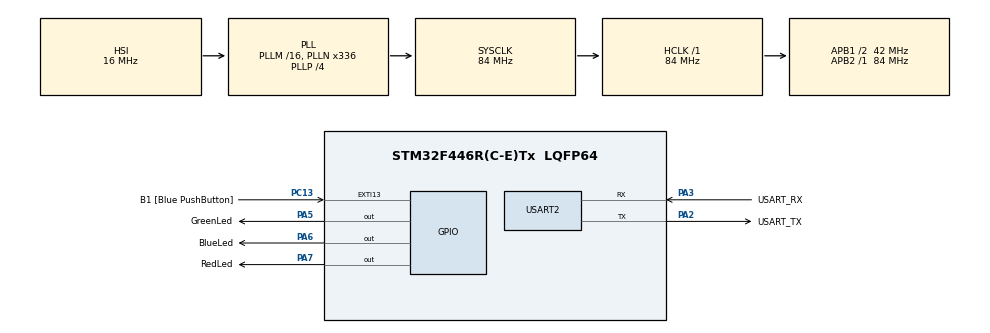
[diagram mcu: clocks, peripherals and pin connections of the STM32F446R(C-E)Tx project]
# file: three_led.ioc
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FREERTOS.Tasks01=defaultTask,0,128,StartDefaultTask,Default,NULL,Dynamic,NULL,NULL
Mcu.Family=STM32F4
Mcu.Name=STM32F446R(C-E)Tx
Mcu.Package=LQFP64
NVIC.PriorityGroup=NVIC_PRIORITYGROUP_4
NVIC.TIM6_DAC_IRQn=true\:15\:0\:false\:false\:true\:false\:false\:true\:true
NVIC.TimeBase=TIM6_DAC_IRQn
NVIC.TimeBaseIP=TIM6
PA13.GPIO_Label=TMS
PA13.Mode=Serial_Wire
PA13.Signal=SYS_JTMS-SWDIO
PA14.GPIO_Label=TCK
PA14.Mode=Serial_Wire
PA14.Signal=SYS_JTCK-SWCLK
PA2.GPIO_Label=USART_TX
PA2.Mode=Asynchronous
PA2.Signal=USART2_TX
PA3.GPIO_Label=USART_RX
PA3.Mode=Asynchronous
PA3.Signal=USART2_RX
PA5.GPIO_Label=GreenLed
PA5.Signal=GPIO_Output
PA6.GPIO_Label=BlueLed
PA6.Signal=GPIO_Output
PA7.GPIO_Label=RedLed
PA7.Signal=GPIO_Output
PB3.GPIO_Label=SWO
PB3.Signal=SYS_JTDO-SWO
PC13.GPIO_Label=B1 [Blue PushButton]
PC13.GPIO_ModeDefaultEXTI=GPIO_MODE_IT_FALLING
PC13.Signal=GPXTI13
PC14-OSC32_IN.Mode=LSE-External-Oscillator
PC14-OSC32_IN.Signal=RCC_OSC32_IN
PC15-OSC32_OUT.Mode=LSE-External-Oscillator
PC15-OSC32_OUT.Signal=RCC_OSC32_OUT
PH0-OSC_IN.Mode=HSE-External-Oscillator
PH0-OSC_IN.Signal=RCC_OSC_IN
PH1-OSC_OUT.Mode=HSE-External-Oscillator
PH1-OSC_OUT.Signal=RCC_OSC_OUT
ProjectManager.HeapSize=0x200
ProjectManager.StackSize=0x400
ProjectManager.TargetToolchain=STM32CubeIDE
RCC.48MHZClocksFreq_Value=84000000
RCC.AHBFreq_Value=84000000
RCC.APB1CLKDivider=RCC_HCLK_DIV2
RCC.APB1Freq_Value=42000000
RCC.APB1TimFreq_Value=84000000
RCC.APB2Freq_Value=84000000
RCC.APB2TimFreq_Value=84000000
RCC.CortexFreq_Value=84000000
RCC.FLatency-AdvancedSettings=FLASH_LATENCY_2
RCC.HCLKFreq_Value=84000000
RCC.HSE_VALUE=8000000
RCC.HSI_VALUE=16000000
RCC.PLLN=336
RCC.PLLP=RCC_PLLP_DIV4
RCC.SYSCLKFreq_VALUE=84000000
RCC.SYSCLKSource=RCC_SYSCLKSOURCE_PLLCLK
RCC.USBFreq_Value=168000000
RCC.VCOOutputFreq_Value=336000000
USART2.VirtualMode=VM_ASYNC
VP_FREERTOS_VS_CMSIS_V1.Mode=CMSIS_V1
VP_SYS_VS_tim6.Mode=TIM6
board=NUCLEO-F446RE

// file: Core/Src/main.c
/* USER CODE BEGIN Header */
/**
  ******************************************************************************
  * @file           : main.c
  * @brief          : Main program body
  ******************************************************************************
  * @attention
  *
  * Copyright (c) 2026 STMicroelectronics.
  * All rights reserved.
  *
  * This software is licensed under terms that can be found in the LICENSE file
  * in the root directory of this software component.
  * If no LICENSE file comes with this software, it is provided AS-IS.
  *
  ******************************************************************************
  */
/* USER CODE END Header */
#include "main.h"
#include "cmsis_os.h"

/* USER CODE BEGIN Includes */
#include <stdio.h>
/* USER CODE END Includes */

UART_HandleTypeDef huart2;

osThreadId defaultTaskHandle;

void SystemClock_Config(void);
static void MX_GPIO_Init(void);
static void MX_USART2_UART_Init(void);
void StartDefaultTask(void const * argument);

/* USER CODE BEGIN PFP */
static void led_green_handler(void *pvParameters);
static void led_red_handler(void *pvParameters);
static void led_blue_handler(void *pvParameters);

/* USER CODE END PFP */

int main(void)
{

  /* USER CODE BEGIN 1 */
	TaskHandle_t task1_handle;
	TaskHandle_t task2_handle;
	TaskHandle_t task3_handle;
	BaseType_t xReturned;
  /* USER CODE END 1 */

  /* MCU Configuration--------------------------------------------------------*/

  /* Reset of all peripherals, Initializes the Flash interface and the Systick. */
  HAL_Init();

  /* Configure the system clock */
  SystemClock_Config();

  /* Initialize all configured peripherals */
  MX_GPIO_Init();
  MX_USART2_UART_Init();
  /* USER CODE BEGIN 2 */
  xReturned = xTaskCreate(
      Firstled_handler,
      "First  led task",
      100,        /* Stack size */
      NULL,       /* Parameter passed */
      2,          /* Priority at which the task runs */
      &task1_handle);

  configASSERT(xReturned == pdPASS);

  xReturned = xTaskCreate(
      Secondled_handler,
      "Secondled task",
      100,        /* Stack size */
      NULL,       /* Parameter passed */
      2,          /* Priority at which the task runs */
      &task2_handle);

  configASSERT(xReturned == pdPASS);

  xReturned = xTaskCreate(
		  Tryledhandler,
      "Try led task",
      100,        /* Stack size */
      NULL,       /* Parameter passed */
      2,          /* Priority at which the task runs */
      &task3_handle);

  configASSERT(xReturned == pdPASS);

  vTaskStartScheduler();
  /* USER CODE END 2 */

  /* Create the thread(s) */
  /* definition and creation of defaultTask */
  osThreadDef(defaultTask, StartDefaultTask, osPriorityNormal, 0, 128);
  defaultTaskHandle = osThreadCreate(osThread(defaultTask), NULL);

  /* Start scheduler */
  osKernelStart();

  /* We should never get here as control is now taken by the scheduler */

  /* Infinite loop */
  while (1)
  {

  }
}

void SystemClock_Config(void)
{
  RCC_OscInitTypeDef RCC_OscInitStruct = {0};
  RCC_ClkInitTypeDef RCC_ClkInitStruct = {0};

  /** Configure the main internal regulator output voltage
  */
  __HAL_RCC_PWR_CLK_ENABLE();
  __HAL_PWR_VOLTAGESCALING_CONFIG(PWR_REGULATOR_VOLTAGE_SCALE3);

  /** Initializes the RCC Oscillators according to the specified parameters
  * in the RCC_OscInitTypeDef structure.
  */
  RCC_OscInitStruct.OscillatorType = RCC_OSCILLATORTYPE_HSI;
  RCC_OscInitStruct.HSIState = RCC_HSI_ON;
  RCC_OscInitStruct.HSICalibrationValue = RCC_HSICALIBRATION_DEFAULT;
  RCC_OscInitStruct.PLL.PLLState = RCC_PLL_ON;
  RCC_OscInitStruct.PLL.PLLSource = RCC_PLLSOURCE_HSI;
  RCC_OscInitStruct.PLL.PLLM = 16;
  RCC_OscInitStruct.PLL.PLLN = 336;
  RCC_OscInitStruct.PLL.PLLP = RCC_PLLP_DIV4;
  RCC_OscInitStruct.PLL.PLLQ = 2;
  RCC_OscInitStruct.PLL.PLLR = 2;
  if (HAL_RCC_OscConfig(&RCC_OscInitStruct) != HAL_OK)
  {
    Error_Handler();
  }

  /** Initializes the CPU, AHB and APB buses clocks
  */
  RCC_ClkInitStruct.ClockType = RCC_CLOCKTYPE_HCLK|RCC_CLOCKTYPE_SYSCLK
                              |RCC_CLOCKTYPE_PCLK1|RCC_CLOCKTYPE_PCLK2;
  RCC_ClkInitStruct.SYSCLKSource = RCC_SYSCLKSOURCE_PLLCLK;
  RCC_ClkInitStruct.AHBCLKDivider = RCC_SYSCLK_DIV1;
  RCC_ClkInitStruct.APB1CLKDivider = RCC_HCLK_DIV2;
  RCC_ClkInitStruct.APB2CLKDivider = RCC_HCLK_DIV1;

  if (HAL_RCC_ClockConfig(&RCC_ClkInitStruct, FLASH_LATENCY_2) != HAL_OK)
  {
    Error_Handler();
  }
}

static void MX_USART2_UART_Init(void)
{

  huart2.Instance = USART2;
  huart2.Init.BaudRate = 115200;
  huart2.Init.WordLength = UART_WORDLENGTH_8B;
  huart2.Init.StopBits = UART_STOPBITS_1;
  huart2.Init.Parity = UART_PARITY_NONE;
  huart2.Init.Mode = UART_MODE_TX_RX;
  huart2.Init.HwFlowCtl = UART_HWCONTROL_NONE;
  huart2.Init.OverSampling = UART_OVERSAMPLING_16;
  if (HAL_UART_Init(&huart2) != HAL_OK)
  {
    Error_Handler();
  }

}

static void MX_GPIO_Init(void)
{
  GPIO_InitTypeDef GPIO_InitStruct = {0};

  /* GPIO Ports Clock Enable */
  __HAL_RCC_GPIOC_CLK_ENABLE();
  __HAL_RCC_GPIOH_CLK_ENABLE();
  __HAL_RCC_GPIOA_CLK_ENABLE();
  __HAL_RCC_GPIOB_CLK_ENABLE();

  /*Configure GPIO pin Output Level */
  HAL_GPIO_WritePin(GPIOA, GreenLed_Pin|BlueLed_Pin|RedLed_Pin, GPIO_PIN_RESET);

  /*Configure GPIO pin : B1_Pin */
  GPIO_InitStruct.Pin = B1_Pin;
  GPIO_InitStruct.Mode = GPIO_MODE_IT_FALLING;
  GPIO_InitStruct.Pull = GPIO_NOPULL;
  HAL_GPIO_Init(B1_GPIO_Port, &GPIO_InitStruct);

  /*Configure GPIO pins : GreenLed_Pin BlueLed_Pin RedLed_Pin */
  GPIO_InitStruct.Pin = GreenLed_Pin|BlueLed_Pin|RedLed_Pin;
  GPIO_InitStruct.Mode = GPIO_MODE_OUTPUT_PP;
  GPIO_InitStruct.Pull = GPIO_NOPULL;
  GPIO_InitStruct.Speed = GPIO_SPEED_FREQ_LOW;
  HAL_GPIO_Init(GPIOA, &GPIO_InitStruct);

}

/* USER CODE BEGIN 4 */
static void Firstled_handler(void* parameters)
{
    while(1)
    {
        printf("task1\n");
        HAL_GPIO_TogglePin(GreenLed_GPIO_Port, GreenLed_Pin);
        HAL_Delay(1000);
        taskYIELD();
    }
}
static void Secondled_handler(void* parameters)
{
    while(1)
    {
        printf("task2\n");
        HAL_GPIO_TogglePin(RedLed_GPIO_Port, RedLed_Pin);
        HAL_Delay(800);
        taskYIELD();
    }
}
static void Tryledhandler(void* parameters)
{
    while(1)
    {
        printf("task3\n");
        HAL_GPIO_TogglePin(BlueLed_GPIO_Port, BlueLed_Pin);
        HAL_Delay(400);
        taskYIELD();

    }
}

/* USER CODE END 4 */

void StartDefaultTask(void const * argument)
{
  for(;;)
  {
    osDelay(1);
  }
}

void HAL_TIM_PeriodElapsedCallback(TIM_HandleTypeDef *htim)
{
  if (htim->Instance == TIM6)
  {
    HAL_IncTick();
  }
}

void Error_Handler(void)
{
  __disable_irq();
  while (1)
  {
  }
}
